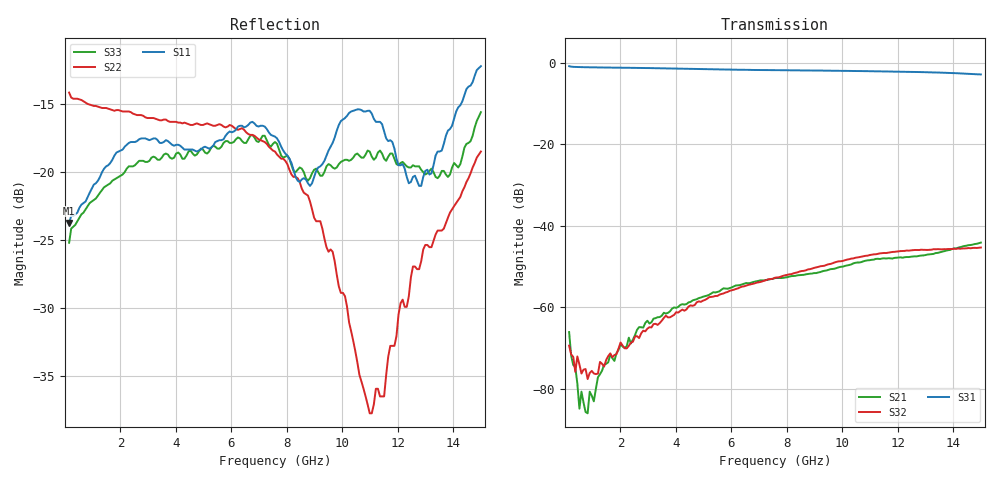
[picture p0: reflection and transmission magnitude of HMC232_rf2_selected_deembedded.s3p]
!Hittite Microwave Corporation
!12 Elizabeth Drive
!Chelmsford, MA 01824
!Tel: 978-250-3343
!Fax: 978-250-3373
!Device: HMC232, DC - 15 GHz GaAs MMIC Non-Reflective SPDT Switch
!Misc: Port1=RFC, Port2= RF1, Port3=RF2, RF2 ON, Control: -5VDC
# MHZ S MA R 50
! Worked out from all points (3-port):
!   201 points, 150 MHz to 15 GHz, reference 50 ohm
!   strongest paths, dB at 150 MHz, 3.862 GHz, 7.575 GHz, 11.29 GHz, 15 GHz:
!     S31: -0.8, -1.3, -1.8, -2.0, -2.8
!     S32: -69.4, -62.2, -52.7, -46.9, -45.3
!     S21: -66.1, -60.3, -52.8, -48.1, -44.1
!   lowest |S11| = -23.7 dB at 150 MHz (marker M1), VSWR 1.14, Z = 57 - j0.151 ohm
!   |S11| at or under -10 dB: start of sweep to end of sweep
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150  0.065 -1.2  0.0002316 -40.2  0.917 -7.9
     0.0004957 0.7  0.196 170.3  0.0006096 -23.2
     0.915 -7.9  0.0003377 -74.8  0.055 -0.3
298.5  0.069 -13.3  0.0002153 -44.8  0.898 -13.9
       0.0001955 -53.1  0.186 166.7  0.0001208 -91.8
       0.897 -13.9  0.0002456 -75.2  0.063 -16.0
1189.5  0.093 -59.6  8.247e-05 55.9  0.885 -53.0
        0.0001382 100.1  0.174 132.6  0.0001845 -173.7
        0.884 -52.8  0.0001531 -155.4  0.082 -69.8
2080.5  0.121 -108.3  0.0004034 54.5  0.878 -92.1
        0.000329 58.1  0.167 97.0  0.0003432 141.0
        0.876 -92.0  0.0003372 140.0  0.098 -119.5
4011  0.126 149.9  0.0009765 1.2  0.857 -176.6
      0.0009836 -0.1  0.153 20.2  0.00089 47.6
      0.854 -176.6  0.0008687 51.9  0.117 136.0
5867.25  0.139 57.3  0.001716 -58.0  0.833 102.5
         0.001688 -57.5  0.147 -49.3  0.001562 -27.0
         0.832 102.6  0.001543 -24.5  0.13 30.0
7575  0.135 -20.6  0.002308 -112.9  0.819 28.3
      0.002279 -113.1  0.119 -101.3  0.002275 -90.5
      0.817 28.3  0.002307 -91.2  0.129 -43.3
10025.25  0.156 -39.3  0.0032 -179.6  0.803 -79.6
          0.003159 179.8  0.036 -170.0  0.00371 179.6
          0.801 -79.5  0.003713 179.5  0.11 -66.0
12178.5  0.107 -121.4  0.004088 110.3  0.783 -175.7
         0.004061 111.0  0.034 -121.8  0.004961 91.3
         0.781 -175.7  0.004902 91.2  0.109 -135.7
15000  0.245 124.4  0.006138 25.7  0.726 55.9
       0.006223 25.9  0.119 111.1  0.005545 -20.5
       0.724 56.0  0.005415 -19.5  0.166 106.0
